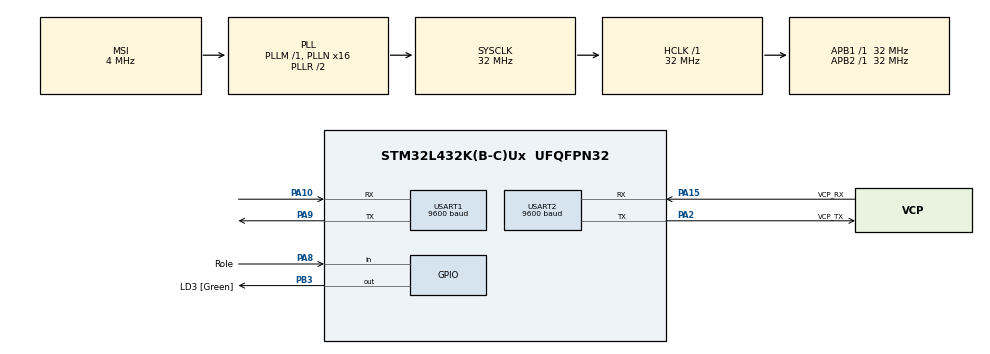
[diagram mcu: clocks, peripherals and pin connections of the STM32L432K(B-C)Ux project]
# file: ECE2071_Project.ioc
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Mcu.Family=STM32L4
Mcu.Name=STM32L432K(B-C)Ux
Mcu.Package=UFQFPN32
NVIC.PriorityGroup=NVIC_PRIORITYGROUP_4
PA0.GPIO_Label=MCO [High speed clock in]
PA0.Mode=HSE-External-Clock-Source-for-LittleOrca
PA0.Signal=RCC_CK_IN
PA10.Mode=Asynchronous
PA10.Signal=USART1_RX
PA13\ (JTMS-SWDIO).GPIO_Label=SWDIO
PA13\ (JTMS-SWDIO).Mode=Serial_Wire
PA13\ (JTMS-SWDIO).Signal=SYS_JTMS-SWDIO
PA14\ (JTCK-SWCLK).GPIO_Label=SWCLK
PA14\ (JTCK-SWCLK).Mode=Serial_Wire
PA14\ (JTCK-SWCLK).Signal=SYS_JTCK-SWCLK
PA15\ (JTDI).GPIO_Label=VCP_RX
PA15\ (JTDI).Mode=Asynchronous
PA15\ (JTDI).Signal=USART2_RX
PA2.GPIO_Label=VCP_TX
PA2.Mode=Asynchronous
PA2.Signal=USART2_TX
PA8.GPIO_Label=Role
PA8.GPIO_PuPd=GPIO_PULLDOWN
PA8.Signal=GPIO_Input
PA9.Mode=Asynchronous
PA9.Signal=USART1_TX
PB3\ (JTDO-TRACESWO).GPIO_Label=LD3 [Green]
PB3\ (JTDO-TRACESWO).Signal=GPIO_Output
PC14-OSC32_IN\ (PC14).Mode=LSE-External-Oscillator
PC14-OSC32_IN\ (PC14).Signal=RCC_OSC32_IN
PC15-OSC32_OUT\ (PC15).Mode=LSE-External-Oscillator
PC15-OSC32_OUT\ (PC15).Signal=RCC_OSC32_OUT
ProjectManager.HeapSize=0x200
ProjectManager.StackSize=0x400
ProjectManager.TargetToolchain=STM32CubeIDE
RCC.AHBFreq_Value=32000000
RCC.APB1Freq_Value=32000000
RCC.APB1TimFreq_Value=32000000
RCC.APB2Freq_Value=32000000
RCC.APB2TimFreq_Value=32000000
RCC.CortexFreq_Value=32000000
RCC.HCLKFreq_Value=32000000
RCC.HSE_VALUE=8000000
RCC.HSI16_VALUE=16000000
RCC.HSI48_VALUE=48000000
RCC.HSI_VALUE=16000000
RCC.MSI_VALUE=4000000
RCC.PLLMUL=RCC_PLLMUL_4
RCC.PLLN=16
RCC.SYSCLKFreq_VALUE=32000000
RCC.SYSCLKSource=RCC_SYSCLKSOURCE_PLLCLK
RCC.VCOOutputFreq_Value=64000000
USART1.BaudRate=9600
USART1.VirtualMode-Asynchronous=VM_ASYNC
USART2.BaudRate=9600
USART2.VirtualMode-Asynchronous=VM_ASYNC
board=NUCLEO-L432KC

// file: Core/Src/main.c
/* USER CODE BEGIN Header */
/**
  ******************************************************************************
  * @file           : main.c
  * @brief          : Main program body
  ******************************************************************************
  * @attention
  *
  * Copyright (c) 2026 STMicroelectronics.
  * All rights reserved.
  *
  * This software is licensed under terms that can be found in the LICENSE file
  * in the root directory of this software component.
  * If no LICENSE file comes with this software, it is provided AS-IS.
  *
  ******************************************************************************
  */
/* USER CODE END Header */
#include "main.h"

/* USER CODE BEGIN Includes */
#include <string.h>
#include <stdio.h>
/* USER CODE END Includes */

UART_HandleTypeDef huart1;
UART_HandleTypeDef huart2;

/* USER CODE BEGIN PV */
#define MSG_SIZE 64

uint8_t is_head = 0;
uint8_t position = 0;
uint8_t team_id = 07;
char device_id[10];
/* USER CODE END PV */

void SystemClock_Config(void);
static void MX_GPIO_Init(void);
static void MX_USART2_UART_Init(void);
static void MX_USART1_UART_Init(void);

int main(void)
{

  /* MCU Configuration--------------------------------------------------------*/

  /* Reset of all peripherals, Initializes the Flash interface and the Systick. */
  HAL_Init();

  /* Configure the system clock */
  SystemClock_Config();

  /* Initialize all configured peripherals */
  MX_GPIO_Init();
  MX_USART2_UART_Init();
  MX_USART1_UART_Init();
  /* USER CODE BEGIN 2 */
  char msg[MSG_SIZE];
  char rx_msg[MSG_SIZE];
  char tx_msg[MSG_SIZE];
  uint8_t rx_byte = 0;
  uint8_t idx = 0;

  is_head = HAL_GPIO_ReadPin(GPIOA, GPIO_PIN_8);

  if (is_head) {
      uint8_t counter = 0;
      HAL_UART_Transmit(&huart1, &counter, 1, HAL_MAX_DELAY);
  } else {
	    uint8_t received;
	    HAL_UART_Receive(&huart1, &received, 1, HAL_MAX_DELAY);

	    position = received + 1;

	    uint8_t next = position;
	    HAL_UART_Transmit(&huart1, &next, 1, HAL_MAX_DELAY);
  }

  sprintf(device_id, "%02d_%d", team_id, position);

  /* USER CODE END 2 */

  /* Infinite loop */
  /* USER CODE BEGIN WHILE */
  while (1)
  {

	if (is_head) {
		idx = 0;
		memset(msg, 0, MSG_SIZE);
		while (1)
		{
			HAL_UART_Receive(&huart2, &rx_byte, 1,HAL_MAX_DELAY);
			if (rx_byte == '\n') break;
			msg[idx++] = rx_byte;
		}

		while (1)
		{
			HAL_GPIO_WritePin(GPIOB, GPIO_PIN_3, GPIO_PIN_SET);
			HAL_Delay(250);
			HAL_GPIO_WritePin(GPIOB, GPIO_PIN_3, GPIO_PIN_RESET);

			strncat(msg, "_", MSG_SIZE - strlen(msg) - 1);
			strncat(msg, device_id, MSG_SIZE - strlen(msg) - 1);

			uint8_t tx_checksum = 0;
			for (int i = 0; i < strlen(msg); i++) {
			    tx_checksum ^= msg[i];
			}
			snprintf(tx_msg, MSG_SIZE, "%s_%02X\n", msg, tx_checksum);
			HAL_UART_Transmit(&huart1, (uint8_t *)tx_msg, strlen(tx_msg), 100);

			idx = 0;
			memset(rx_msg, 0, MSG_SIZE);
			while (1)
			{
				HAL_UART_Receive(&huart1, &rx_byte, 1, HAL_MAX_DELAY);
				if (rx_byte == '\n') break;
				rx_msg[idx++] = rx_byte;
			}

			char *last_underscore = strrchr(rx_msg, '_');
			if (last_underscore != NULL) {
			    *last_underscore = '\0';
			}

			strncat(rx_msg, "\n", MSG_SIZE - strlen(rx_msg) - 1);
			HAL_UART_Transmit(&huart2, (uint8_t *)rx_msg, strlen(rx_msg), 100);

			idx = 0;
			memset(msg, 0, MSG_SIZE);
			while (1)
			{
				HAL_UART_Receive(&huart2, &rx_byte, 1, HAL_MAX_DELAY);
				if (rx_byte == '\n') break;
				msg[idx++] = rx_byte;
			}
		}

		} else {

		while (1)
		{
			idx = 0;
			memset(msg, 0, MSG_SIZE);

			while (1)
			{
				HAL_UART_Receive(&huart1, &rx_byte, 1, HAL_MAX_DELAY);
				if (rx_byte == '\n') break;
				msg[idx++] = rx_byte;
			}

			char *last_underscore = strrchr(msg, '_');
			uint8_t rx_checksum;
			sscanf(last_underscore + 1, "%02X", &rx_checksum);
			*last_underscore = '\0';

			uint8_t calc_checksum = 0;
			for (int i = 0; i < strlen(msg); i++) {
			    calc_checksum ^= msg[i];
			}
			if (calc_checksum != rx_checksum) {
			    HAL_GPIO_WritePin(GPIOB, GPIO_PIN_3, GPIO_PIN_SET);
			    while(1);
			}

			HAL_GPIO_WritePin(GPIOB, GPIO_PIN_3, GPIO_PIN_SET);
			HAL_Delay(250);
			HAL_GPIO_WritePin(GPIOB, GPIO_PIN_3, GPIO_PIN_RESET);

			strncat(msg, "_", MSG_SIZE - strlen(msg) - 1);
			strncat(msg, device_id, MSG_SIZE - strlen(msg) - 1);

			uint8_t tx_checksum = 0;
			for (int i = 0; i < strlen(msg); i++) {
			    tx_checksum ^= msg[i];
			}
			snprintf(tx_msg, MSG_SIZE, "%s_%02X\n", msg, tx_checksum);
			HAL_UART_Transmit(&huart1, (uint8_t *)tx_msg, strlen(tx_msg), 100);
		}

	}
    /* USER CODE END WHILE */

  }
}

void SystemClock_Config(void)
{
  RCC_OscInitTypeDef RCC_OscInitStruct = {0};
  RCC_ClkInitTypeDef RCC_ClkInitStruct = {0};

  /** Configure the main internal regulator output voltage
  */
  if (HAL_PWREx_ControlVoltageScaling(PWR_REGULATOR_VOLTAGE_SCALE1) != HAL_OK)
  {
    Error_Handler();
  }

  /** Configure LSE Drive Capability
  */
  HAL_PWR_EnableBkUpAccess();
  __HAL_RCC_LSEDRIVE_CONFIG(RCC_LSEDRIVE_LOW);

  /** Initializes the RCC Oscillators according to the specified parameters
  * in the RCC_OscInitTypeDef structure.
  */
  RCC_OscInitStruct.OscillatorType = RCC_OSCILLATORTYPE_LSE|RCC_OSCILLATORTYPE_MSI;
  RCC_OscInitStruct.LSEState = RCC_LSE_ON;
  RCC_OscInitStruct.MSIState = RCC_MSI_ON;
  RCC_OscInitStruct.MSICalibrationValue = 0;
  RCC_OscInitStruct.MSIClockRange = RCC_MSIRANGE_6;
  RCC_OscInitStruct.PLL.PLLState = RCC_PLL_ON;
  RCC_OscInitStruct.PLL.PLLSource = RCC_PLLSOURCE_MSI;
  RCC_OscInitStruct.PLL.PLLM = 1;
  RCC_OscInitStruct.PLL.PLLN = 16;
  RCC_OscInitStruct.PLL.PLLP = RCC_PLLP_DIV7;
  RCC_OscInitStruct.PLL.PLLQ = RCC_PLLQ_DIV2;
  RCC_OscInitStruct.PLL.PLLR = RCC_PLLR_DIV2;
  if (HAL_RCC_OscConfig(&RCC_OscInitStruct) != HAL_OK)
  {
    Error_Handler();
  }

  /** Initializes the CPU, AHB and APB buses clocks
  */
  RCC_ClkInitStruct.ClockType = RCC_CLOCKTYPE_HCLK|RCC_CLOCKTYPE_SYSCLK
                              |RCC_CLOCKTYPE_PCLK1|RCC_CLOCKTYPE_PCLK2;
  RCC_ClkInitStruct.SYSCLKSource = RCC_SYSCLKSOURCE_PLLCLK;
  RCC_ClkInitStruct.AHBCLKDivider = RCC_SYSCLK_DIV1;
  RCC_ClkInitStruct.APB1CLKDivider = RCC_HCLK_DIV1;
  RCC_ClkInitStruct.APB2CLKDivider = RCC_HCLK_DIV1;

  if (HAL_RCC_ClockConfig(&RCC_ClkInitStruct, FLASH_LATENCY_1) != HAL_OK)
  {
    Error_Handler();
  }

  /** Enable MSI Auto calibration
  */
  HAL_RCCEx_EnableMSIPLLMode();
}

static void MX_USART1_UART_Init(void)
{

  huart1.Instance = USART1;
  huart1.Init.BaudRate = 9600;
  huart1.Init.WordLength = UART_WORDLENGTH_8B;
  huart1.Init.StopBits = UART_STOPBITS_1;
  huart1.Init.Parity = UART_PARITY_NONE;
  huart1.Init.Mode = UART_MODE_TX_RX;
  huart1.Init.HwFlowCtl = UART_HWCONTROL_NONE;
  huart1.Init.OverSampling = UART_OVERSAMPLING_16;
  huart1.Init.OneBitSampling = UART_ONE_BIT_SAMPLE_DISABLE;
  huart1.AdvancedInit.AdvFeatureInit = UART_ADVFEATURE_NO_INIT;
  if (HAL_UART_Init(&huart1) != HAL_OK)
  {
    Error_Handler();
  }

}

static void MX_USART2_UART_Init(void)
{

  huart2.Instance = USART2;
  huart2.Init.BaudRate = 9600;
  huart2.Init.WordLength = UART_WORDLENGTH_8B;
  huart2.Init.StopBits = UART_STOPBITS_1;
  huart2.Init.Parity = UART_PARITY_NONE;
  huart2.Init.Mode = UART_MODE_TX_RX;
  huart2.Init.HwFlowCtl = UART_HWCONTROL_NONE;
  huart2.Init.OverSampling = UART_OVERSAMPLING_16;
  huart2.Init.OneBitSampling = UART_ONE_BIT_SAMPLE_DISABLE;
  huart2.AdvancedInit.AdvFeatureInit = UART_ADVFEATURE_NO_INIT;
  if (HAL_UART_Init(&huart2) != HAL_OK)
  {
    Error_Handler();
  }

}

static void MX_GPIO_Init(void)
{
  GPIO_InitTypeDef GPIO_InitStruct = {0};

  /* GPIO Ports Clock Enable */
  __HAL_RCC_GPIOC_CLK_ENABLE();
  __HAL_RCC_GPIOA_CLK_ENABLE();
  __HAL_RCC_GPIOB_CLK_ENABLE();

  /*Configure GPIO pin Output Level */
  HAL_GPIO_WritePin(LD3_GPIO_Port, LD3_Pin, GPIO_PIN_RESET);

  /*Configure GPIO pin : Role_Pin */
  GPIO_InitStruct.Pin = Role_Pin;
  GPIO_InitStruct.Mode = GPIO_MODE_INPUT;
  GPIO_InitStruct.Pull = GPIO_PULLDOWN;
  HAL_GPIO_Init(Role_GPIO_Port, &GPIO_InitStruct);

  /*Configure GPIO pin : LD3_Pin */
  GPIO_InitStruct.Pin = LD3_Pin;
  GPIO_InitStruct.Mode = GPIO_MODE_OUTPUT_PP;
  GPIO_InitStruct.Pull = GPIO_NOPULL;
  GPIO_InitStruct.Speed = GPIO_SPEED_FREQ_LOW;
  HAL_GPIO_Init(LD3_GPIO_Port, &GPIO_InitStruct);

}

void Error_Handler(void)
{
  __disable_irq();
  while (1)
  {
  }
}
